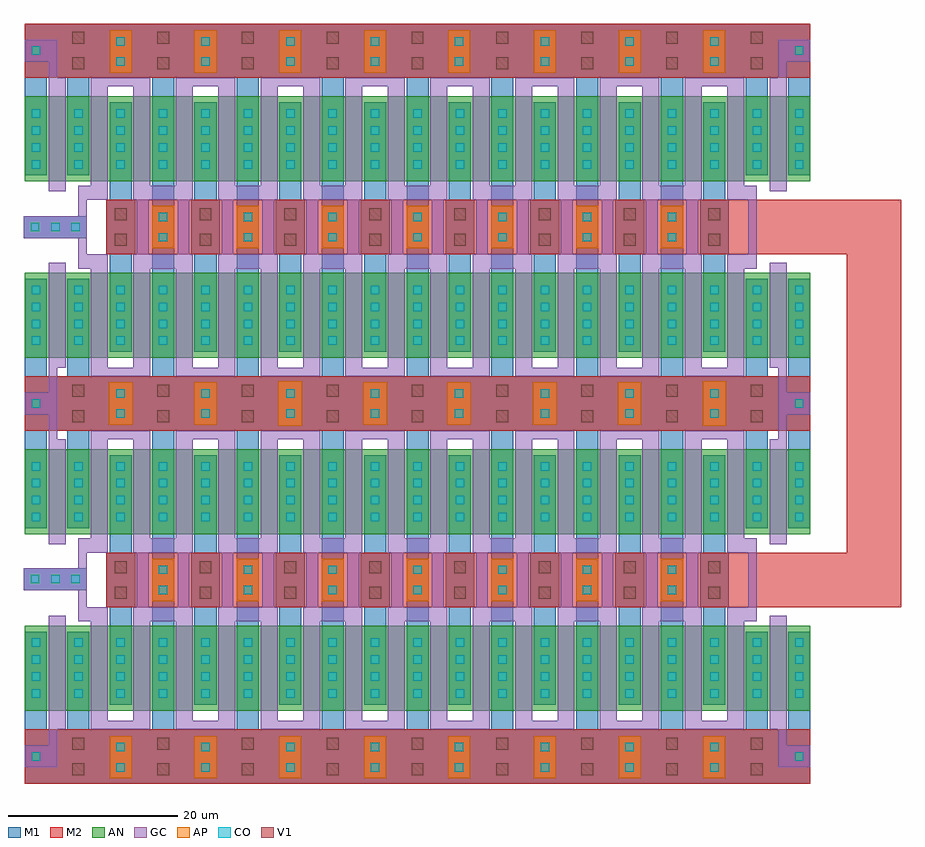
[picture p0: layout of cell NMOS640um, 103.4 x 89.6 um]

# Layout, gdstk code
import gdstk
lib = gdstk.Library(unit=1e-6, precision=1e-09)
def R(c, l, rs):  # rectangles x0, y0, x1, y1
    for r in rs: c.add(gdstk.rectangle(r[:2], r[2:], *l))
def A(c, l, x, y, w, h, nx, ny, dx, dy):  # array of equal rectangles
    R(c, l, [(x+i*dx, y+j*dy, x+i*dx+w, y+j*dy+h) for i in range(nx) for j in range(ny)])
AP = (3, 1)
AN = (3, 2)
GC = (8, 1)
CO = (11, 0)
M1 = (13, 0)
V1 = (19, 0)
M2 = (20, 0)

via_1 = lib.new_cell('via_1')
R(via_1, M1, [(-1.7,-1.7,1.7,1.7)])
R(via_1, V1, [(-0.7,-0.7,0.7,0.7)])
R(via_1, M2, [(-1.7,-1.7,1.7,1.7)])

cont_p = lib.new_cell('cont_p')
R(cont_p, AP, [(-1.3,-1.3,1.3,1.3)])
R(cont_p, CO, [(-0.5,-0.5,0.5,0.5)])
R(cont_p, M1, [(-1.3,-1.3,1.3,1.3)])

via_1_1 = lib.new_cell('via_1$1')
R(via_1_1, M1, [(-1.7,-1.7,1.7,1.7)])
R(via_1_1, V1, [(-0.7,-0.7,0.7,0.7)])
R(via_1_1, M2, [(-1.7,-1.7,1.7,1.7)])

fet_n_3 = lib.new_cell('fet_n$3')
R(fet_n_3, AN, [(-3.8,-5,3.8,5)])
A(fet_n_3, CO, -3, -3.5, 1, 1, 1, 4, 0, 2)
A(fet_n_3, CO, 2, -3.5, 1, 1, 1, 4, 0, 2)
R(fet_n_3, M1, [(-3.8,-4.3,-1.2,4.3), (1.2,-4.3,3.8,4.3)])
fet_n_3.add(gdstk.FlexPath([(0,-6.2),(0,6.2)], 2, ends="flush", simple_path=True, layer=8, datatype=1))  # GC

fet_n = lib.new_cell('fet_n')
R(fet_n, AN, [(-41.3,-5,41.3,5)])
A(fet_n, CO, -40.5, -3.5, 1, 1, 17, 4, 5, 2)
A(fet_n, M1, -41.3, -4.3, 2.6, 8.6, 17, 1, 5, 0)
fet_n.add(gdstk.FlexPath([(2.5,-6.2),(2.5,6.2)], 2, ends="flush", simple_path=True, layer=8, datatype=1))  # GC
fet_n.add(gdstk.FlexPath([(-2.5,-6.2),(-2.5,6.2)], 2, ends="flush", simple_path=True, layer=8, datatype=1))  # GC
fet_n.add(gdstk.FlexPath([(7.5,-6.2),(7.5,6.2)], 2, ends="flush", simple_path=True, layer=8, datatype=1))  # GC
fet_n.add(gdstk.FlexPath([(-7.5,-6.2),(-7.5,6.2)], 2, ends="flush", simple_path=True, layer=8, datatype=1))  # GC
fet_n.add(gdstk.FlexPath([(12.5,-6.2),(12.5,6.2)], 2, ends="flush", simple_path=True, layer=8, datatype=1))  # GC
fet_n.add(gdstk.FlexPath([(-12.5,-6.2),(-12.5,6.2)], 2, ends="flush", simple_path=True, layer=8, datatype=1))  # GC
fet_n.add(gdstk.FlexPath([(17.5,-6.2),(17.5,6.2)], 2, ends="flush", simple_path=True, layer=8, datatype=1))  # GC
fet_n.add(gdstk.FlexPath([(-17.5,-6.2),(-17.5,6.2)], 2, ends="flush", simple_path=True, layer=8, datatype=1))  # GC
fet_n.add(gdstk.FlexPath([(22.5,-6.2),(22.5,6.2)], 2, ends="flush", simple_path=True, layer=8, datatype=1))  # GC
fet_n.add(gdstk.FlexPath([(-22.5,-6.2),(-22.5,6.2)], 2, ends="flush", simple_path=True, layer=8, datatype=1))  # GC
fet_n.add(gdstk.FlexPath([(27.5,-6.2),(27.5,6.2)], 2, ends="flush", simple_path=True, layer=8, datatype=1))  # GC
fet_n.add(gdstk.FlexPath([(-27.5,-6.2),(-27.5,6.2)], 2, ends="flush", simple_path=True, layer=8, datatype=1))  # GC
fet_n.add(gdstk.FlexPath([(32.5,-6.2),(32.5,6.2)], 2, ends="flush", simple_path=True, layer=8, datatype=1))  # GC
fet_n.add(gdstk.FlexPath([(-32.5,-6.2),(-32.5,6.2)], 2, ends="flush", simple_path=True, layer=8, datatype=1))  # GC
fet_n.add(gdstk.FlexPath([(37.5,-6.2),(37.5,6.2)], 2, ends="flush", simple_path=True, layer=8, datatype=1))  # GC
fet_n.add(gdstk.FlexPath([(-37.5,-6.2),(-37.5,6.2)], 2, ends="flush", simple_path=True, layer=8, datatype=1))  # GC

nmos320um = lib.new_cell('NMOS320um')
A(nmos320um, GC, -38.5, -17.6, 7, 1, 8, 2, 10, 34.2)
A(nmos320um, GC, -33.5, -4.9, 7, 1.7, 7, 2, 10, 8.1)
R(nmos320um, GC, [(-40,-4.9,-36.5,-3.2), (36.5,-4.9,40,-3.2), (-40,3.2,-36.5,4.9), (36.5,3.2,40,4.9)])
nmos320um.add(gdstk.FlexPath([(40,-17.6),(40,-14.7)], 2.6, ends="flush", simple_path=True, layer=13, datatype=0))  # M1
nmos320um.add(gdstk.FlexPath([(45,-17.6),(45,-14.7)], 2.6, ends="flush", simple_path=True, layer=13, datatype=0))  # M1
nmos320um.add(gdstk.FlexPath([(-10,-17.6),(-10,-14.7)], 2.6, ends="flush", simple_path=True, layer=13, datatype=0))  # M1
nmos320um.add(gdstk.FlexPath([(-30,-17.6),(-30,-14.7)], 2.6, ends="flush", simple_path=True, layer=13, datatype=0))  # M1
nmos320um.add(gdstk.FlexPath([(-20,-17.6),(-20,-14.7)], 2.6, ends="flush", simple_path=True, layer=13, datatype=0))  # M1
nmos320um.add(gdstk.FlexPath([(-45,-17.6),(-45,-14.7)], 2.6, ends="flush", simple_path=True, layer=13, datatype=0))  # M1
nmos320um.add(gdstk.FlexPath([(-40,-17.6),(-40,-14.7)], 2.6, ends="flush", simple_path=True, layer=13, datatype=0))  # M1
nmos320um.add(gdstk.FlexPath([(0,-17.6),(0,-14.7)], 2.6, ends="flush", simple_path=True, layer=13, datatype=0))  # M1
nmos320um.add(gdstk.FlexPath([(20,-17.6),(20,-14.7)], 2.6, ends="flush", simple_path=True, layer=13, datatype=0))  # M1
nmos320um.add(gdstk.FlexPath([(30,-17.6),(30,-14.7)], 2.6, ends="flush", simple_path=True, layer=13, datatype=0))  # M1
nmos320um.add(gdstk.FlexPath([(10,-17.6),(10,-14.7)], 2.6, ends="flush", simple_path=True, layer=13, datatype=0))  # M1
nmos320um.add(gdstk.FlexPath([(30,-6.1),(30,-2.5),(30,-2.5)], 2.6, ends="flush", simple_path=True, layer=13, datatype=0))  # M1
nmos320um.add(gdstk.FlexPath([(30,2.5),(30,6.1)], 2.6, ends="flush", simple_path=True, layer=13, datatype=0))  # M1
nmos320um.add(gdstk.FlexPath([(20,-6.1),(20,-2.5),(20,-2.5)], 2.6, ends="flush", simple_path=True, layer=13, datatype=0))  # M1
nmos320um.add(gdstk.FlexPath([(20,2.5),(20,6.1)], 2.6, ends="flush", simple_path=True, layer=13, datatype=0))  # M1
nmos320um.add(gdstk.FlexPath([(10,-6.1),(10,-2.5),(10,-2.5)], 2.6, ends="flush", simple_path=True, layer=13, datatype=0))  # M1
nmos320um.add(gdstk.FlexPath([(10,2.5),(10,6.1)], 2.6, ends="flush", simple_path=True, layer=13, datatype=0))  # M1
nmos320um.add(gdstk.FlexPath([(0,-6.1),(0,-2.5),(0,-2.5)], 2.6, ends="flush", simple_path=True, layer=13, datatype=0))  # M1
nmos320um.add(gdstk.FlexPath([(0,2.5),(0,6.1)], 2.6, ends="flush", simple_path=True, layer=13, datatype=0))  # M1
nmos320um.add(gdstk.FlexPath([(-10,-6.1),(-10,-2.5),(-10,-2.5)], 2.6, ends="flush", simple_path=True, layer=13, datatype=0))  # M1
nmos320um.add(gdstk.FlexPath([(-10,2.5),(-10,6.1)], 2.6, ends="flush", simple_path=True, layer=13, datatype=0))  # M1
nmos320um.add(gdstk.FlexPath([(-20,-6.1),(-20,-2.5),(-20,-2.5)], 2.6, ends="flush", simple_path=True, layer=13, datatype=0))  # M1
nmos320um.add(gdstk.FlexPath([(-20,2.5),(-20,6.1)], 2.6, ends="flush", simple_path=True, layer=13, datatype=0))  # M1
nmos320um.add(gdstk.FlexPath([(-30,-6.1),(-30,-2.5),(-30,-2.5)], 2.6, ends="flush", simple_path=True, layer=13, datatype=0))  # M1
nmos320um.add(gdstk.FlexPath([(-30,2.5),(-30,6.1)], 2.6, ends="flush", simple_path=True, layer=13, datatype=0))  # M1
nmos320um.add(gdstk.FlexPath([(-40,18.5),(-40,14.7)], 2.6, ends="flush", simple_path=True, layer=13, datatype=0))  # M1
nmos320um.add(gdstk.FlexPath([(-45,18.5),(-45,14.7)], 2.6, ends="flush", simple_path=True, layer=13, datatype=0))  # M1
nmos320um.add(gdstk.FlexPath([(-30,14.7),(-30,18.5)], 2.6, ends="flush", simple_path=True, layer=13, datatype=0))  # M1
nmos320um.add(gdstk.FlexPath([(-20,18.5),(-20,14.7)], 2.6, ends="flush", simple_path=True, layer=13, datatype=0))  # M1
nmos320um.add(gdstk.FlexPath([(-10,18.5),(-10,14.7)], 2.6, ends="flush", simple_path=True, layer=13, datatype=0))  # M1
nmos320um.add(gdstk.FlexPath([(0,14.7),(0,18.5)], 2.6, ends="flush", simple_path=True, layer=13, datatype=0))  # M1
nmos320um.add(gdstk.FlexPath([(10,18.5),(10,14.7)], 2.6, ends="flush", simple_path=True, layer=13, datatype=0))  # M1
nmos320um.add(gdstk.FlexPath([(20,14.7),(20,18.5)], 2.6, ends="flush", simple_path=True, layer=13, datatype=0))  # M1
nmos320um.add(gdstk.FlexPath([(30,18.5),(30,14.7)], 2.6, ends="flush", simple_path=True, layer=13, datatype=0))  # M1
nmos320um.add(gdstk.FlexPath([(40,18.5),(40,14.7)], 2.6, ends="flush", simple_path=True, layer=13, datatype=0))  # M1
nmos320um.add(gdstk.FlexPath([(45,14.7),(45,18.5)], 2.6, ends="flush", simple_path=True, layer=13, datatype=0))  # M1
nmos320um.add(gdstk.FlexPath([(35,-6.1),(35,-3.2)], 2.6, ends="flush", simple_path=True, layer=13, datatype=0))  # M1
nmos320um.add(gdstk.FlexPath([(35,3.2),(35,6.1)], 2.6, ends="flush", simple_path=True, layer=13, datatype=0))  # M1
nmos320um.add(gdstk.FlexPath([(25,-6.1),(25,-3.2)], 2.6, ends="flush", simple_path=True, layer=13, datatype=0))  # M1
nmos320um.add(gdstk.FlexPath([(25,3.2),(25,6.1)], 2.6, ends="flush", simple_path=True, layer=13, datatype=0))  # M1
nmos320um.add(gdstk.FlexPath([(15,-6.1),(15,-3.2)], 2.6, ends="flush", simple_path=True, layer=13, datatype=0))  # M1
nmos320um.add(gdstk.FlexPath([(15,3.2),(15,6.1)], 2.6, ends="flush", simple_path=True, layer=13, datatype=0))  # M1
nmos320um.add(gdstk.FlexPath([(5,-6.1),(5,-3.2)], 2.6, ends="flush", simple_path=True, layer=13, datatype=0))  # M1
nmos320um.add(gdstk.FlexPath([(5,3.2),(5,6.1)], 2.6, ends="flush", simple_path=True, layer=13, datatype=0))  # M1
nmos320um.add(gdstk.FlexPath([(-5,-6.1),(-5,-3.2)], 2.6, ends="flush", simple_path=True, layer=13, datatype=0))  # M1
nmos320um.add(gdstk.FlexPath([(-5,3.2),(-5,6.1)], 2.6, ends="flush", simple_path=True, layer=13, datatype=0))  # M1
nmos320um.add(gdstk.FlexPath([(-15,-6.1),(-15,-3.2)], 2.6, ends="flush", simple_path=True, layer=13, datatype=0))  # M1
nmos320um.add(gdstk.FlexPath([(-15,3.2),(-15,6.1)], 2.6, ends="flush", simple_path=True, layer=13, datatype=0))  # M1
nmos320um.add(gdstk.FlexPath([(-25,3.2),(-25,6.1)], 2.6, ends="flush", simple_path=True, layer=13, datatype=0))  # M1
nmos320um.add(gdstk.FlexPath([(-25,-6.1),(-25,-3.2)], 2.6, ends="flush", simple_path=True, layer=13, datatype=0))  # M1
nmos320um.add(gdstk.FlexPath([(-35,-6.1),(-35,-3.2)], 2.6, ends="flush", simple_path=True, layer=13, datatype=0))  # M1
nmos320um.add(gdstk.FlexPath([(-35,3.2),(-35,6.1)], 2.6, ends="flush", simple_path=True, layer=13, datatype=0))  # M1
nmos320um.add(gdstk.FlexPath([(-36.7,0),(36.7,0),(36.7,0)], 6.4, ends="flush", simple_path=True, layer=20, datatype=0))  # M2
nmos320um.add(gdstk.FlexPath([(-39.5,-3.2),(-39.5,3.2)], 1, ends="flush", simple_path=True, layer=8, datatype=1))  # GC
nmos320um.add(gdstk.FlexPath([(39.5,-3.2),(39.5,3.2)], 1, ends="flush", simple_path=True, layer=8, datatype=1))  # GC
nmos320um.add(gdstk.FlexPath([(17.6,-3.2),(17.6,3.2),(17.6,3.2)], 1.4, ends="flush", simple_path=True, layer=8, datatype=1))  # GC
nmos320um.add(gdstk.FlexPath([(22.4,-3.2),(22.4,3.2),(22.4,3.2)], 1.4, ends="flush", simple_path=True, layer=8, datatype=1))  # GC
nmos320um.add(gdstk.FlexPath([(7.6,-3.2),(7.6,3.2),(7.6,3.2)], 1.4, ends="flush", simple_path=True, layer=8, datatype=1))  # GC
nmos320um.add(gdstk.FlexPath([(12.4,-3.2),(12.4,3.2),(12.4,3.2)], 1.4, ends="flush", simple_path=True, layer=8, datatype=1))  # GC
nmos320um.add(gdstk.FlexPath([(27.6,-3.2),(27.6,3.2),(27.6,3.2)], 1.4, ends="flush", simple_path=True, layer=8, datatype=1))  # GC
nmos320um.add(gdstk.FlexPath([(32.4,-3.2),(32.4,3.2),(32.4,3.2)], 1.4, ends="flush", simple_path=True, layer=8, datatype=1))  # GC
nmos320um.add(gdstk.FlexPath([(-2.4,-3.2),(-2.4,3.2),(-2.4,3.2)], 1.4, ends="flush", simple_path=True, layer=8, datatype=1))  # GC
nmos320um.add(gdstk.FlexPath([(2.4,-3.2),(2.4,3.2),(2.4,3.2)], 1.4, ends="flush", simple_path=True, layer=8, datatype=1))  # GC
nmos320um.add(gdstk.FlexPath([(-12.4,-3.2),(-12.4,3.2),(-12.4,3.2)], 1.4, ends="flush", simple_path=True, layer=8, datatype=1))  # GC
nmos320um.add(gdstk.FlexPath([(-7.6,-3.2),(-7.6,3.2),(-7.6,3.2)], 1.4, ends="flush", simple_path=True, layer=8, datatype=1))  # GC
nmos320um.add(gdstk.FlexPath([(-22.4,-3.2),(-22.4,3.2),(-22.4,3.2)], 1.4, ends="flush", simple_path=True, layer=8, datatype=1))  # GC
nmos320um.add(gdstk.FlexPath([(-17.6,-3.2),(-17.6,3.2),(-17.6,3.2)], 1.4, ends="flush", simple_path=True, layer=8, datatype=1))  # GC
nmos320um.add(gdstk.FlexPath([(-32.4,-3.2),(-32.4,3.2),(-32.4,3.2)], 1.4, ends="flush", simple_path=True, layer=8, datatype=1))  # GC
nmos320um.add(gdstk.FlexPath([(-27.6,-3.2),(-27.6,3.2),(-27.6,3.2)], 1.4, ends="flush", simple_path=True, layer=8, datatype=1))  # GC
r = gdstk.Reference(cont_p, (30,-1.2)); r.repetition = gdstk.Repetition(1, 2, v1=(0,0), v2=(0,2.4)); nmos320um.add(r)
r = gdstk.Reference(via_1_1, (-35,1.5), x_reflection=True); r.repetition = gdstk.Repetition(8, 2, v1=(10,0), v2=(0,-3)); nmos320um.add(r)
r = gdstk.Reference(cont_p, (20,-1.2)); r.repetition = gdstk.Repetition(1, 2, v1=(0,0), v2=(0,2.4)); nmos320um.add(r)
r = gdstk.Reference(cont_p, (10,-1.2)); r.repetition = gdstk.Repetition(1, 2, v1=(0,0), v2=(0,2.4)); nmos320um.add(r)
r = gdstk.Reference(cont_p, (0,-1.2)); r.repetition = gdstk.Repetition(1, 2, v1=(0,0), v2=(0,2.4)); nmos320um.add(r)
r = gdstk.Reference(cont_p, (-10,-1.2)); r.repetition = gdstk.Repetition(1, 2, v1=(0,0), v2=(0,2.4)); nmos320um.add(r)
r = gdstk.Reference(cont_p, (-20,-1.2)); r.repetition = gdstk.Repetition(1, 2, v1=(0,0), v2=(0,2.4)); nmos320um.add(r)
r = gdstk.Reference(cont_p, (-30,-1.2)); r.repetition = gdstk.Repetition(1, 2, v1=(0,0), v2=(0,2.4)); nmos320um.add(r)
nmos320um.add(gdstk.Reference(fet_n_3, (-42.5,-10.4), x_reflection=True))
nmos320um.add(gdstk.Reference(fet_n_3, (42.5,10.4)))
nmos320um.add(gdstk.Reference(fet_n_3, (-42.5,10.4)))
nmos320um.add(gdstk.Reference(fet_n, (0,-10.4), x_reflection=True))
nmos320um.add(gdstk.Reference(fet_n, (0,10.4)))
nmos320um.add(gdstk.Reference(fet_n_3, (42.5,-10.4), x_reflection=True))

cont_g = lib.new_cell('cont_g')
R(cont_g, GC, [(-1.3,-1.3,1.3,1.3)])
R(cont_g, CO, [(-0.5,-0.5,0.5,0.5)])
R(cont_g, M1, [(-1.3,-1.3,1.3,1.3)])

cont_p_2 = lib.new_cell('cont_p$2')
R(cont_p_2, AP, [(-1.4,-1.3,1.4,1.3)])
R(cont_p_2, CO, [(-0.5,-0.5,0.5,0.5)])
R(cont_p_2, M1, [(-1.3,-1.3,1.3,1.3)])

cont_p_1 = lib.new_cell('cont_p$1')
R(cont_p_1, AP, [(-1.4,-1.4,1.4,1.4)])
R(cont_p_1, CO, [(-0.5,-0.5,0.5,0.5)])
R(cont_p_1, M1, [(-1.3,-1.3,1.3,1.3)])

nmos640um = lib.new_cell('NMOS640um')
A(nmos640um, GC, -43.7, -63.7, 0.2, 2.6, 1, 3, 0, 41.6)
A(nmos640um, GC, 43.5, -63.7, 0.2, 2.6, 1, 3, 0, 41.6)
R(nmos640um, GC, [(-43.5,-63.7,-42.5,-58.2), (42.5,-63.7,43.5,-58.2), (-42.5,-59.2,-41.5,-58.2), (41.5,-59.2,42.5,-58.2), (-43.5,-25,-42.5,-16.6), (42.5,-25,43.5,-16.6), (-43.5,16.6,-42.5,22.1), (-42.5,16.6,-41.5,17.6), (41.5,16.6,42.5,17.6), (42.5,16.6,43.5,22.1)])
A(nmos640um, M1, -46.3, -65.6, 4.6, 6.4, 1, 3, 0, 41.6)
A(nmos640um, M1, 41.7, -65.6, 4.6, 6.4, 1, 3, 0, 41.6)
nmos640um.add(gdstk.FlexPath([(-41.7,-20.8),(41.7,-20.8)], 6.4, ends="flush", simple_path=True, layer=13, datatype=0))  # M1
nmos640um.add(gdstk.FlexPath([(-41.7,20.8),(41.7,20.8)], 6.4, ends="flush", simple_path=True, layer=13, datatype=0))  # M1
nmos640um.add(gdstk.FlexPath([(-41.7,-62.4),(41.7,-62.4)], 6.4, ends="flush", simple_path=True, layer=13, datatype=0))  # M1
nmos640um.add(gdstk.FlexPath([(-46.3,-20.8),(46.3,-20.8)], 6.4, ends="flush", simple_path=True, layer=20, datatype=0))  # M2
nmos640um.add(gdstk.FlexPath([(36.7,-41.6),(56.7,-41.6),(57,-41.6)], 6.4, ends="flush", simple_path=True, layer=20, datatype=0))  # M2
nmos640um.add(gdstk.FlexPath([(36.7,0),(57,0)], 6.4, ends="flush", simple_path=True, layer=20, datatype=0))  # M2
nmos640um.add(gdstk.FlexPath([(53.8,-44.8),(53.8,3.2)], 6.4, ends="flush", simple_path=True, layer=20, datatype=0))  # M2
nmos640um.add(gdstk.FlexPath([(-46.3,20.8),(46.3,20.8)], 6.4, ends="flush", simple_path=True, layer=20, datatype=0))  # M2
nmos640um.add(gdstk.FlexPath([(-46.3,-62.4),(46.3,-62.4)], 6.4, ends="flush", simple_path=True, layer=20, datatype=0))  # M2
r = gdstk.Reference(via_1, (-40,-19.3), x_reflection=True); r.repetition = gdstk.Repetition(9, 2, v1=(10,0), v2=(0,-3)); nmos640um.add(r)
nmos640um.add(gdstk.Reference(nmos320um, (0,0)))
r = gdstk.Reference(cont_g, (-45.1,0)); r.repetition = gdstk.Repetition(3, 1, v1=(2.4,0), v2=(0,0)); nmos640um.add(r)
nmos640um.add(gdstk.Reference(nmos320um, (0,-41.6), x_reflection=True))
r = gdstk.Reference(cont_g, (-45.1,-41.5)); r.repetition = gdstk.Repetition(3, 1, v1=(2.4,0), v2=(0,0)); nmos640um.add(r)
r = gdstk.Reference(cont_p, (-25,-22)); r.repetition = gdstk.Repetition(1, 2, v1=(0,0), v2=(0,2.4)); nmos640um.add(r)
r = gdstk.Reference(cont_p_2, (-35,-22)); r.repetition = gdstk.Repetition(1, 2, v1=(0,0), v2=(0,2.4)); nmos640um.add(r)
r = gdstk.Reference(cont_p_2, (-5,-22)); r.repetition = gdstk.Repetition(1, 2, v1=(0,0), v2=(0,2.4)); nmos640um.add(r)
r = gdstk.Reference(cont_p_2, (4.9,-22)); r.repetition = gdstk.Repetition(1, 2, v1=(0,0), v2=(0,2.4)); nmos640um.add(r)
r = gdstk.Reference(cont_p_2, (15,-22)); r.repetition = gdstk.Repetition(1, 2, v1=(0,0), v2=(0,2.4)); nmos640um.add(r)
r = gdstk.Reference(cont_p_2, (25,-22)); r.repetition = gdstk.Repetition(1, 2, v1=(0,0), v2=(0,2.4)); nmos640um.add(r)
r = gdstk.Reference(cont_p_1, (35,-22)); r.repetition = gdstk.Repetition(1, 2, v1=(0,0), v2=(0,2.4)); nmos640um.add(r)
r = gdstk.Reference(cont_p_1, (-15,-22)); r.repetition = gdstk.Repetition(1, 2, v1=(0,0), v2=(0,2.4)); nmos640um.add(r)
nmos640um.add(gdstk.Reference(cont_g, (-45,-20.8)))
r = gdstk.Reference(via_1, (-40,22.3), x_reflection=True); r.repetition = gdstk.Repetition(9, 2, v1=(10,0), v2=(0,-3)); nmos640um.add(r)
r = gdstk.Reference(cont_p, (-15,19.5)); r.repetition = gdstk.Repetition(1, 2, v1=(0,0), v2=(0,2.4)); nmos640um.add(r)
r = gdstk.Reference(cont_p, (-25,19.5)); r.repetition = gdstk.Repetition(1, 2, v1=(0,0), v2=(0,2.4)); nmos640um.add(r)
r = gdstk.Reference(cont_p, (-35,19.5)); r.repetition = gdstk.Repetition(1, 2, v1=(0,0), v2=(0,2.4)); nmos640um.add(r)
r = gdstk.Reference(cont_p, (-5,19.5)); r.repetition = gdstk.Repetition(1, 2, v1=(0,0), v2=(0,2.4)); nmos640um.add(r)
r = gdstk.Reference(cont_p, (4.9,19.5)); r.repetition = gdstk.Repetition(1, 2, v1=(0,0), v2=(0,2.4)); nmos640um.add(r)
r = gdstk.Reference(cont_p, (15,19.5)); r.repetition = gdstk.Repetition(1, 2, v1=(0,0), v2=(0,2.4)); nmos640um.add(r)
r = gdstk.Reference(cont_p, (25,19.5)); r.repetition = gdstk.Repetition(1, 2, v1=(0,0), v2=(0,2.4)); nmos640um.add(r)
r = gdstk.Reference(cont_p, (35,19.5)); r.repetition = gdstk.Repetition(1, 2, v1=(0,0), v2=(0,2.4)); nmos640um.add(r)
nmos640um.add(gdstk.Reference(cont_g, (-45,20.8)))
nmos640um.add(gdstk.Reference(cont_g, (45,-20.8)))
nmos640um.add(gdstk.Reference(cont_g, (45,20.8), x_reflection=True))
r = gdstk.Reference(via_1, (-40,-60.9), x_reflection=True); r.repetition = gdstk.Repetition(9, 2, v1=(10,0), v2=(0,-3)); nmos640um.add(r)
r = gdstk.Reference(cont_p, (-15,-63.7)); r.repetition = gdstk.Repetition(1, 2, v1=(0,0), v2=(0,2.4)); nmos640um.add(r)
r = gdstk.Reference(cont_p, (-25,-63.7)); r.repetition = gdstk.Repetition(1, 2, v1=(0,0), v2=(0,2.4)); nmos640um.add(r)
r = gdstk.Reference(cont_p, (-35,-63.7)); r.repetition = gdstk.Repetition(1, 2, v1=(0,0), v2=(0,2.4)); nmos640um.add(r)
r = gdstk.Reference(cont_p, (-5,-63.7)); r.repetition = gdstk.Repetition(1, 2, v1=(0,0), v2=(0,2.4)); nmos640um.add(r)
r = gdstk.Reference(cont_p, (4.9,-63.7)); r.repetition = gdstk.Repetition(1, 2, v1=(0,0), v2=(0,2.4)); nmos640um.add(r)
r = gdstk.Reference(cont_p, (15,-63.7)); r.repetition = gdstk.Repetition(1, 2, v1=(0,0), v2=(0,2.4)); nmos640um.add(r)
r = gdstk.Reference(cont_p, (25,-63.7)); r.repetition = gdstk.Repetition(1, 2, v1=(0,0), v2=(0,2.4)); nmos640um.add(r)
r = gdstk.Reference(cont_p, (35,-63.7)); r.repetition = gdstk.Repetition(1, 2, v1=(0,0), v2=(0,2.4)); nmos640um.add(r)
nmos640um.add(gdstk.Reference(cont_g, (-45,-62.4)))
nmos640um.add(gdstk.Reference(cont_g, (45,-62.4)))

lib.write_gds('NMOS640um.gds')
